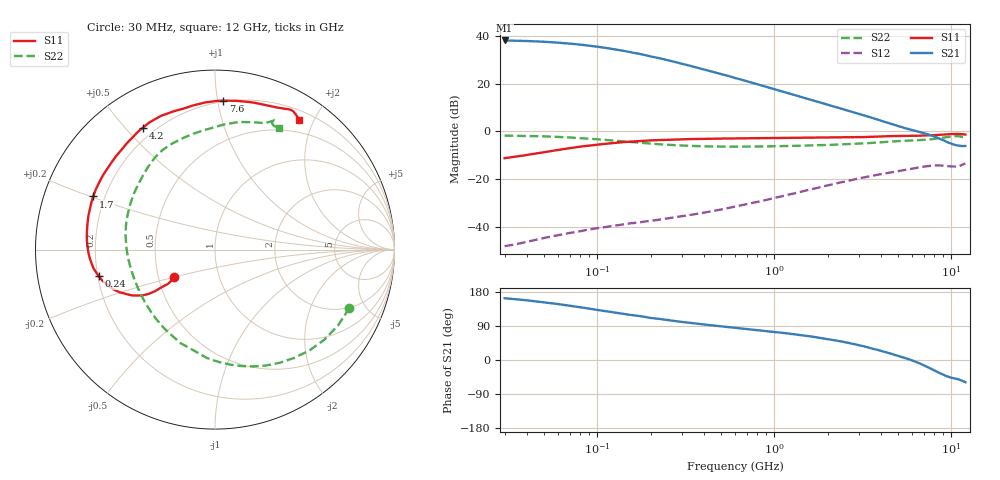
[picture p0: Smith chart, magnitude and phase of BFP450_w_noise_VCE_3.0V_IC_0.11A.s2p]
! (c) 2015  Infineon Technologies AG, Munich
! Infineon Technologies  Discrete & RF Semiconductors
! BFP450
! VCE =  3.0 V,  IC = 0.11 A
! Common Emitter S-Parameters:  Nov 2015
# GHz  S  MA  R  50
!  f  S11  S21  S12  S22
! GHz  MAG  ANG  MAG  ANG  MAG  ANG  MAG  ANG
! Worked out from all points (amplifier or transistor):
!   239 points, 30 MHz to 12 GHz, reference 50 ohm
!   highest |S21| = 38.2 dB at 30 MHz (marker M1)
!   |S21| within 3 dB of that: start of sweep to 108.8 MHz
!   unconditionally stable (mu >= 1): 871.2 MHz to end of sweep
!   at 300 MHz: K = 0.73, MSG = 32.0 dB, |S12| = -35.7 dB
!   at 1.88 GHz: K = 1.09, MAG = 15.7 dB, |S12| = -23.1 dB
!   at 12 GHz: K = 1.08, MAG = 1.9 dB, |S12| = -13.5 dB
!   lowest NFmin = 2.22 dB at 450 MHz
!   S11 on the Smith chart (normalised r, x): 30 MHz: 0.60, -0.20; 240 MHz: 0.20, -0.11; 1.7 GHz: 0.16, +0.20; 4.2 GHz: 0.16, +0.56; 7.6 GHz: 0.19, +1.04; 12 GHz: 0.32, +1.79
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0.03  0.2744 -145.8  81.23 162.9  0.0039 82.1  0.8165 -23.5
0.04  0.3202 -143.9  79.06 157.5  0.0048 76.7  0.8053 -31.7
0.05  0.3656 -144.8  76.36 152.1  0.0058 73.0  0.7893 -39.6
0.06  0.4086 -145.3  73.08 147.6  0.0066 70.2  0.7693 -47.0
0.07  0.4457 -146.3  69.71 142.9  0.0074 67.4  0.7474 -53.9
0.085  0.4917 -148.7  64.79 137.4  0.0084 64.0  0.7146 -63.4
0.105  0.5377 -152.0  58.59 130.7  0.0095 60.7  0.6745 -74.5
0.13  0.5816 -155.8  51.72 123.9  0.0107 58.3  0.6325 -86.4
0.15  0.6081 -158.7  46.98 119.5  0.0116 56.9  0.6047 -94.4
0.2  0.6489 -164.2  37.59 111.0  0.0133 56.1  0.555 -110.3
0.24  0.6651 -167.3  32.43 106.5  0.0146 56.3  0.5289 -119.6
0.3  0.685 -171.3  26.37 100.5  0.0165 57.0  0.506 -130.9
0.36  0.6942 -174.3  22.23 96.3  0.0184 58.0  0.4928 -139.1
0.45  0.704 -178.0  17.8 91.1  0.0213 59.5  0.4829 -148.5
0.6  0.7132 177.5  13.26 85.0  0.0263 61.2  0.4787 -159.2
1  0.7247 168.7  7.694 74.0  0.0399 61.6  0.4876 -175.8
1.64  0.7388 157.5  4.521 61.6  0.0617 57.0  0.5088 168.0
1.7  0.7404 156.4  4.346 60.6  0.0637 56.4  0.5111 166.7
4.2  0.7892 120.6  1.589 21.5  0.1307 27.7  0.5995 126.7
4.5  0.7972 117.3  1.461 17.3  0.1367 24.7  0.6121 123.3
7.6  0.8314 86.8  0.838 -22.2  0.1898 -8.5  0.6801 90.9
12  0.8606 57.1  0.495 -58.5  0.2124 -40.5  0.7647 62.2
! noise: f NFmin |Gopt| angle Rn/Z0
0.45  2.22  0.65  -171  0.07
0.9  2.28  0.68  -165  0.09
1.9  2.37  0.69  -149  0.17
2.4  2.45  0.69  -140  0.26
